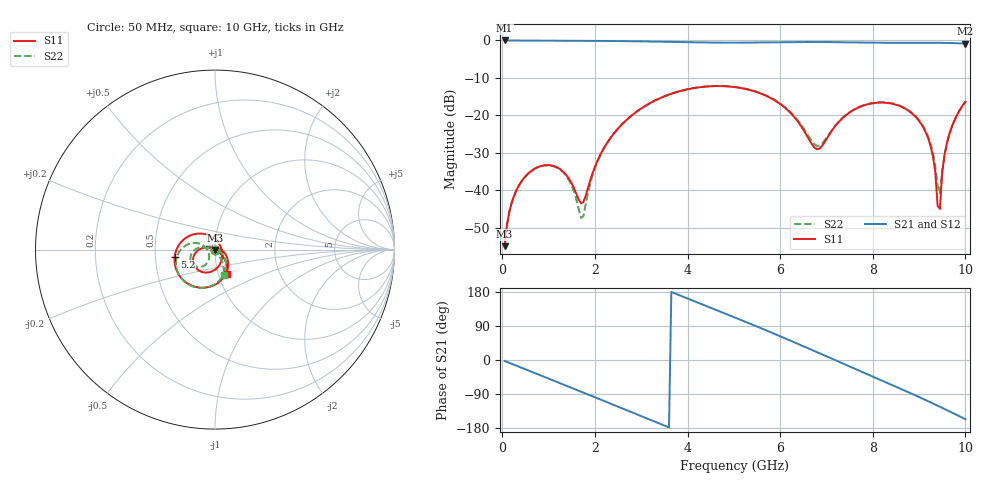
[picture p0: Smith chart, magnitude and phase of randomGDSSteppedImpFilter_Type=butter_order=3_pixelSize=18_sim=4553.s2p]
! freq	dB(S11)	phase(S11)	dB(S12)	phase(S12)
!  dB(S21)	phase(S21)	dB(S22)	phase(S22)
!S-par simulation data
#  GHz  S  DB  R 50
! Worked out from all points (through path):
!   200 points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, 50 MHz to 10 GHz, reference 50 ohm
!   highest |S21| = 0.00 dB at 50 MHz (marker M1); lowest = -0.8 dB at 10 GHz (marker M2)
!   group delay of S21, straight-line fit = 142 ps
!   lowest |S11| = -55.0 dB at 50 MHz (marker M3), VSWR 1.00, Z = 50 - j0.175 ohm
!   |S11| at or under -10 dB: start of sweep to end of sweep
!   |S22| runs from -55.0 to -12.2 dB; largest |S21 - S12| = 0
!   S11 on the Smith chart (normalised r, x): 50 MHz: 1.00, -0.00; 5.2 GHz: 0.63, -0.05; 10 GHz: 1.10, -0.31
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0.05  -54.97 -78.2  -0.00 -2.5  -0.00 -2.5  -54.97 -77.7
0.3  -40.18 -104.2  -0.02 -14.8  -0.02 -14.8  -40.17 -101.6
0.8  -33.70 -134.4  -0.05 -39.3  -0.05 -39.3  -33.71 -126.3
1.35  -35.49 -172.7  -0.08 -66.3  -0.08 -66.3  -35.72 -147.0
1.75  -43.20 81.1  -0.10 -86.0  -0.10 -86.0  -46.98 -66.3
2  -33.78 13.8  -0.11 -98.3  -0.11 -98.3  -34.15 -23.5
2.3  -26.68 -12.6  -0.14 -113.2  -0.14 -113.2  -26.75 -30.8
3.4  -15.46 -75.8  -0.34 -168.1  -0.34 -168.1  -15.45 -79.5
4.15  -12.71 -114.9  -0.52 154.9  -0.52 154.9  -12.68 -114.2
5.05  -12.52 -161.8  -0.60 110.8  -0.60 110.8  -12.47 -154.7
5.2  -12.83 -170.0  -0.59 103.3  -0.59 103.3  -12.77 -161.2
6.1  -17.95 135.1  -0.46 57.5  -0.46 57.5  -17.79 163.6
6.7  -28.00 56.1  -0.42 25.8  -0.42 25.8  -27.18 179.1
7.5  -19.25 -88.0  -0.51 -16.9  -0.51 -16.9  -19.19 -124.4
8.35  -16.75 -142.9  -0.63 -62.2  -0.63 -62.2  -16.67 -158.4
9.15  -24.73 168.9  -0.62 -106.1  -0.62 -106.1  -24.37 166.4
9.3  -31.01 158.6  -0.63 -114.7  -0.63 -114.7  -30.16 165.9
9.4  -44.17 144.0  -0.63 -120.5  -0.63 -120.5  -38.90 -167.9
9.45  -45.02 -17.2  -0.64 -123.4  -0.64 -123.4  -40.83 -103.1
9.5  -35.14 -28.4  -0.65 -126.3  -0.65 -126.3  -34.99 -67.3
9.6  -27.45 -36.6  -0.67 -132.2  -0.67 -132.2  -27.58 -56.8
10  -16.38 -63.3  -0.83 -156.1  -0.83 -156.1  -16.39 -71.3
